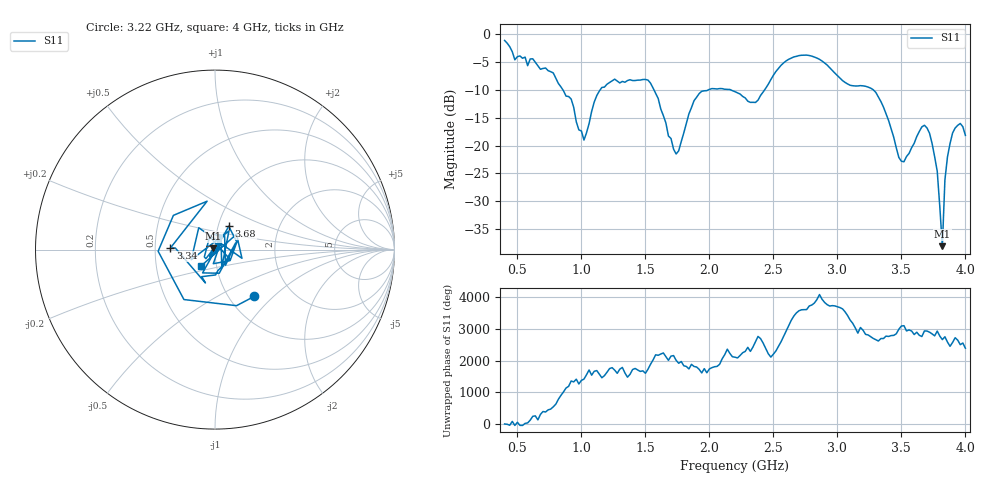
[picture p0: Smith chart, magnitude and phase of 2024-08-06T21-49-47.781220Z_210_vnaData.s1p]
!Created with skrf (http://scikit-rf.org).
# Hz S RI R 50.0
!freq ReS11 ImS11
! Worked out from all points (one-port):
!   181 points, 400 MHz to 4 GHz, reference 50 ohm
!   lowest |S11| = -38.1 dB at 3.82 GHz (marker M1), VSWR 1.03, Z = 49 + j0.721 ohm
!   |S11| at or under -10 dB: 855.3 MHz to 1.147 GHz (291.3 MHz wide, 29.1 % of centre); 1.567 GHz to 1.992 GHz (425.4 MHz wide, 23.9 % of centre); 3.281 GHz to end of sweep (the widest 3 of 4)
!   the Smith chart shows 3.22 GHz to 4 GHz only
!   S11 on the Smith chart (normalised r, x): 3.22 GHz: 1.31, -0.77; 3.34 GHz: 0.60, +0.01; 3.68 GHz: 1.12, +0.30; 4 GHz: 0.84, -0.16
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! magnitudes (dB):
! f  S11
! 400 MHz  -1.1
! 480 MHz  -4.6
! 620 MHz  -4.4
! 860 MHz  -10.2
! 920 MHz  -11.6
! 1.02 GHz  -19.0
! 1.14 GHz  -10.2
! 1.3 GHz  -8.8
! 1.52 GHz  -8.2
! 1.76 GHz  -21.0
! 1.92 GHz  -10.7
! 2.2 GHz  -10.3
! 2.36 GHz  -12.3
! 2.66 GHz  -4.1
! 2.86 GHz  -4.5
! 3.1 GHz  -9.2
! 3.22 GHz  -9.4
! 3.34 GHz  -12.1
! 3.48 GHz  -22.1
! 3.56 GHz  -21.4
! 3.68 GHz  -16.4
! 3.72 GHz  -17.8
! 3.78 GHz  -24.6
! 3.82 GHz  -38.1
! 3.84 GHz  -26.2
! 3.88 GHz  -19.6
! 3.96 GHz  -16.0
! 4 GHz  -18.2
